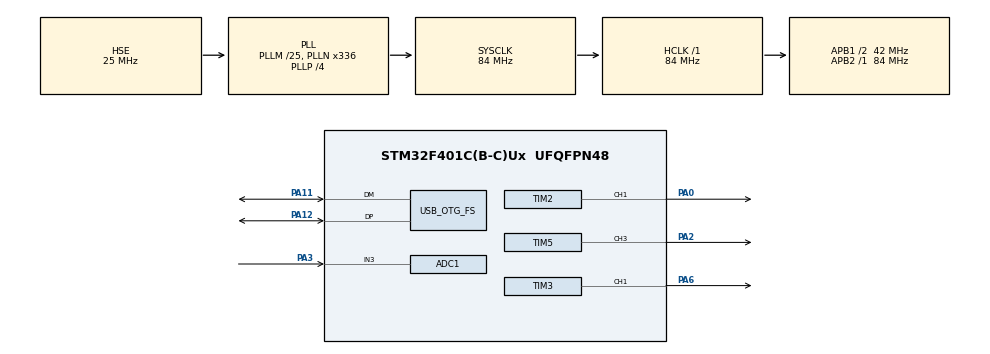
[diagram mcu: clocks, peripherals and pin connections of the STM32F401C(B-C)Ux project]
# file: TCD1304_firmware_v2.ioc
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ADC1.Channel-1\#ChannelRegularConversion=ADC_CHANNEL_3
ADC1.DMAContinuousRequests=ENABLE
ADC1.ExternalTrigConv=ADC_EXTERNALTRIGCONV_T4_CC4
ADC1.NbrOfConversionFlag=1
ADC1.Rank-1\#ChannelRegularConversion=1
ADC1.SamplingTime-1\#ChannelRegularConversion=ADC_SAMPLETIME_3CYCLES
ADC1.master=1
Dma.ADC1.0.Direction=DMA_PERIPH_TO_MEMORY
Dma.ADC1.0.FIFOMode=DMA_FIFOMODE_DISABLE
Dma.ADC1.0.Instance=DMA2_Stream0
Dma.ADC1.0.MemDataAlignment=DMA_MDATAALIGN_HALFWORD
Dma.ADC1.0.MemInc=DMA_MINC_ENABLE
Dma.ADC1.0.Mode=DMA_NORMAL
Dma.ADC1.0.PeriphDataAlignment=DMA_PDATAALIGN_HALFWORD
Dma.ADC1.0.PeriphInc=DMA_PINC_DISABLE
Dma.ADC1.0.Priority=DMA_PRIORITY_LOW
Dma.Request0=ADC1
Mcu.Family=STM32F4
Mcu.Name=STM32F401C(B-C)Ux
Mcu.Package=UFQFPN48
NVIC.DMA2_Stream0_IRQn=true\:0\:0\:false\:false\:true\:false\:true\:true
NVIC.OTG_FS_IRQn=true\:0\:0\:false\:false\:true\:false\:true\:true
NVIC.PriorityGroup=NVIC_PRIORITYGROUP_4
PA0-WKUP.Signal=S_TIM2_CH1_ETR
PA11.Mode=Device_Only
PA11.Signal=USB_OTG_FS_DM
PA12.Mode=Device_Only
PA12.Signal=USB_OTG_FS_DP
PA2.Signal=S_TIM5_CH3
PA3.Signal=ADCx_IN3
PA6.Signal=S_TIM3_CH1
PH0\ -\ OSC_IN.Mode=HSE-External-Oscillator
PH0\ -\ OSC_IN.Signal=RCC_OSC_IN
PH1\ -\ OSC_OUT.Mode=HSE-External-Oscillator
PH1\ -\ OSC_OUT.Signal=RCC_OSC_OUT
ProjectManager.HeapSize=0x200
ProjectManager.StackSize=0x400
ProjectManager.TargetToolchain=STM32CubeIDE
RCC.48MHZClocksFreq_Value=48000000
RCC.AHBFreq_Value=84000000
RCC.APB1CLKDivider=RCC_HCLK_DIV2
RCC.APB1Freq_Value=42000000
RCC.APB1TimFreq_Value=84000000
RCC.APB2Freq_Value=84000000
RCC.APB2TimFreq_Value=84000000
RCC.CortexFreq_Value=84000000
RCC.HCLKFreq_Value=84000000
RCC.HSE_VALUE=25000000
RCC.HSI_VALUE=16000000
RCC.LSE_VALUE=32768
RCC.PLLM=25
RCC.PLLN=336
RCC.PLLP=RCC_PLLP_DIV4
RCC.PLLQ=7
RCC.SYSCLKFreq_VALUE=84000000
RCC.SYSCLKSource=RCC_SYSCLKSOURCE_PLLCLK
RCC.VCOOutputFreq_Value=336000000
SH.ADCx_IN3.0=ADC1_IN3,IN3
SH.S_TIM2_CH1_ETR.0=TIM2_CH1,PWM Generation1 CH1
SH.S_TIM3_CH1.0=TIM3_CH1,PWM Generation1 CH1
SH.S_TIM5_CH3.0=TIM5_CH3,PWM Generation3 CH3
TIM2.Channel-PWM\ Generation1\ CH1=TIM_CHANNEL_1
TIM2.Period=630000-1
TIM2.Pulse-PWM\ Generation1\ CH1=840-1
TIM2.TIM_MasterOutputTrigger=TIM_TRGO_ENABLE
TIM2.TIM_MasterSlaveMode=TIM_MASTERSLAVEMODE_ENABLE
TIM3.Channel-PWM\ Generation1\ CH1=TIM_CHANNEL_1
TIM3.Period=42-1
TIM3.Pulse-PWM\ Generation1\ CH1=21-1
TIM4.Channel-PWM\ Generation4\ No\ Output=TIM_CHANNEL_4
TIM4.Period=168-1
TIM4.Pulse-PWM\ Generation4\ No\ Output=42-1
TIM5.Channel-PWM\ Generation3\ CH3=TIM_CHANNEL_3
TIM5.Period=1680-1
TIM5.Pulse-PWM\ Generation3\ CH3=336-1
TIM5.TIM_MasterSlaveMode=TIM_MASTERSLAVEMODE_ENABLE
USB_DEVICE.APP_TX_DATA_SIZE=1024
USB_DEVICE.CLASS_NAME_FS=CDC
USB_DEVICE.VirtualMode=Cdc
USB_DEVICE.VirtualModeFS=Cdc_FS
USB_OTG_FS.VirtualMode=Device_Only
VP_TIM2_VS_ClockSourceINT.Mode=Internal
VP_TIM3_VS_ClockSourceINT.Mode=Internal
VP_TIM4_VS_ClockSourceINT.Mode=Internal
VP_TIM4_VS_no_output4.Mode=PWM Generation4 No Output
VP_TIM5_VS_ClockSourceINT.Mode=Internal
VP_TIM5_VS_ClockSourceITR.Mode=TriggerSource_ITR0
VP_TIM5_VS_ControllerModeTrigger.Mode=Trigger Mode
VP_USB_DEVICE_VS_USB_DEVICE_CDC_FS.Mode=CDC_FS
board=custom

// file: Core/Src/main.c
/* USER CODE BEGIN Header */
/**
  ******************************************************************************
  * @file           : main.c
  * @brief          : Main program body
  ******************************************************************************
  * @attention
  *
  * Copyright (c) 2025 STMicroelectronics.
  * All rights reserved.
  *
  * This software is licensed under terms that can be found in the LICENSE file
  * in the root directory of this software component.
  * If no LICENSE file comes with this software, it is provided AS-IS.
  *
  ******************************************************************************
  */
/* USER CODE END Header */
#include "main.h"
#include "usb_device.h"

/* USER CODE BEGIN Includes */
#include <stdio.h>
#include <string.h>
#include "usbd_cdc_if.h"
#include "usb_transport.h"  // ← ADDED for USB transport code
#include "ccd_data_layer.h"  // ← ADDED for CCD frame management
#include "command_layer.h"   // ← ADDED FOR COMMAND layer
/* USER CODE END Includes */

ADC_HandleTypeDef hadc1;
DMA_HandleTypeDef hdma_adc1;

TIM_HandleTypeDef htim2;
TIM_HandleTypeDef htim3;
TIM_HandleTypeDef htim4;
TIM_HandleTypeDef htim5;

void SystemClock_Config(void);
static void MX_GPIO_Init(void);
static void MX_DMA_Init(void);
static void MX_TIM2_Init(void);
static void MX_TIM3_Init(void);
static void MX_TIM4_Init(void);
static void MX_TIM5_Init(void);
static void MX_ADC1_Init(void);

/* USER CODE BEGIN 0 */
#define CCDBuffer 6000
volatile uint16_t CCDPixelBuffer[CCDBuffer];

// Frame buffer for processed data
static CCD_Frame_t current_frame;
/* USER CODE END 0 */

int main(void)
{

  /* MCU Configuration--------------------------------------------------------*/

  /* Reset of all peripherals, Initializes the Flash interface and the Systick. */
  HAL_Init();

  /* Configure the system clock */
  SystemClock_Config();

  /* Initialize all configured peripherals */
  MX_GPIO_Init();
  MX_USB_DEVICE_Init();
  MX_TIM3_Init();
  MX_TIM4_Init();
  MX_TIM2_Init();
  MX_DMA_Init();
  MX_ADC1_Init();
  MX_TIM5_Init();

  /* USER CODE BEGIN 2 */
  HAL_TIM_PWM_Start(&htim3, TIM_CHANNEL_1); //PA6 - fM
  HAL_TIM_PWM_Start(&htim4, TIM_CHANNEL_4); //ADC
  HAL_TIM_PWM_Start(&htim2, TIM_CHANNEL_1); //PA0 - ICG
  __HAL_TIM_SET_COUNTER(&htim2, 66); //600 ns delay
  HAL_TIM_PWM_Start(&htim5, TIM_CHANNEL_3); //PA2 - SH

  // Initialize USB transport layer
  usb_transport_init();
  // Initialize CCD data layer
  ccd_data_layer_init();
  // Initialize command layer
  command_layer_init();

  // Start ADC ONCE - it will run continuously
  HAL_ADC_Start_DMA(&hadc1, (uint32_t*) CCDPixelBuffer, CCDBuffer);

  /* USER CODE END 2 */

  /* Infinite loop */
  while (1)
  {
    /* USER CODE BEGIN 3 */

	usb_transport_process();  // ← ADDED for USB IO
	command_layer_process();  // ← ADDED for command layer

  }
  /* USER CODE END 3 */
}

void SystemClock_Config(void)
{
  RCC_OscInitTypeDef RCC_OscInitStruct = {0};
  RCC_ClkInitTypeDef RCC_ClkInitStruct = {0};

  /** Configure the main internal regulator output voltage
  */
  __HAL_RCC_PWR_CLK_ENABLE();
  __HAL_PWR_VOLTAGESCALING_CONFIG(PWR_REGULATOR_VOLTAGE_SCALE2);

  /** Initializes the RCC Oscillators according to the specified parameters
  * in the RCC_OscInitTypeDef structure.
  */
  RCC_OscInitStruct.OscillatorType = RCC_OSCILLATORTYPE_HSE;
  RCC_OscInitStruct.HSEState = RCC_HSE_ON;
  RCC_OscInitStruct.PLL.PLLState = RCC_PLL_ON;
  RCC_OscInitStruct.PLL.PLLSource = RCC_PLLSOURCE_HSE;
  RCC_OscInitStruct.PLL.PLLM = 25;
  RCC_OscInitStruct.PLL.PLLN = 336;
  RCC_OscInitStruct.PLL.PLLP = RCC_PLLP_DIV4;
  RCC_OscInitStruct.PLL.PLLQ = 7;
  if (HAL_RCC_OscConfig(&RCC_OscInitStruct) != HAL_OK)
  {
    Error_Handler();
  }

  /** Initializes the CPU, AHB and APB buses clocks
  */
  RCC_ClkInitStruct.ClockType = RCC_CLOCKTYPE_HCLK|RCC_CLOCKTYPE_SYSCLK
                              |RCC_CLOCKTYPE_PCLK1|RCC_CLOCKTYPE_PCLK2;
  RCC_ClkInitStruct.SYSCLKSource = RCC_SYSCLKSOURCE_PLLCLK;
  RCC_ClkInitStruct.AHBCLKDivider = RCC_SYSCLK_DIV1;
  RCC_ClkInitStruct.APB1CLKDivider = RCC_HCLK_DIV2;
  RCC_ClkInitStruct.APB2CLKDivider = RCC_HCLK_DIV1;

  if (HAL_RCC_ClockConfig(&RCC_ClkInitStruct, FLASH_LATENCY_2) != HAL_OK)
  {
    Error_Handler();
  }
}

static void MX_ADC1_Init(void)
{

  ADC_ChannelConfTypeDef sConfig = {0};

  /** Configure the global features of the ADC (Clock, Resolution, Data Alignment and number of conversion)
  */
  hadc1.Instance = ADC1;
  hadc1.Init.ClockPrescaler = ADC_CLOCK_SYNC_PCLK_DIV4;
  hadc1.Init.Resolution = ADC_RESOLUTION_12B;
  hadc1.Init.ScanConvMode = DISABLE;
  hadc1.Init.ContinuousConvMode = DISABLE;
  hadc1.Init.DiscontinuousConvMode = DISABLE;
  hadc1.Init.ExternalTrigConvEdge = ADC_EXTERNALTRIGCONVEDGE_RISING;
  hadc1.Init.ExternalTrigConv = ADC_EXTERNALTRIGCONV_T4_CC4;
  hadc1.Init.DataAlign = ADC_DATAALIGN_RIGHT;
  hadc1.Init.NbrOfConversion = 1;
  hadc1.Init.DMAContinuousRequests = ENABLE;
  hadc1.Init.EOCSelection = ADC_EOC_SINGLE_CONV;
  if (HAL_ADC_Init(&hadc1) != HAL_OK)
  {
    Error_Handler();
  }

  /** Configure for the selected ADC regular channel its corresponding rank in the sequencer and its sample time.
  */
  sConfig.Channel = ADC_CHANNEL_3;
  sConfig.Rank = 1;
  sConfig.SamplingTime = ADC_SAMPLETIME_3CYCLES;
  if (HAL_ADC_ConfigChannel(&hadc1, &sConfig) != HAL_OK)
  {
    Error_Handler();
  }

}

static void MX_TIM2_Init(void)
{

  TIM_ClockConfigTypeDef sClockSourceConfig = {0};
  TIM_MasterConfigTypeDef sMasterConfig = {0};
  TIM_OC_InitTypeDef sConfigOC = {0};

  htim2.Instance = TIM2;
  htim2.Init.Prescaler = 0;
  htim2.Init.CounterMode = TIM_COUNTERMODE_UP;
  htim2.Init.Period = 630000-1;
  htim2.Init.ClockDivision = TIM_CLOCKDIVISION_DIV1;
  htim2.Init.AutoReloadPreload = TIM_AUTORELOAD_PRELOAD_DISABLE;
  if (HAL_TIM_Base_Init(&htim2) != HAL_OK)
  {
    Error_Handler();
  }
  sClockSourceConfig.ClockSource = TIM_CLOCKSOURCE_INTERNAL;
  if (HAL_TIM_ConfigClockSource(&htim2, &sClockSourceConfig) != HAL_OK)
  {
    Error_Handler();
  }
  if (HAL_TIM_PWM_Init(&htim2) != HAL_OK)
  {
    Error_Handler();
  }
  sMasterConfig.MasterOutputTrigger = TIM_TRGO_ENABLE;
  sMasterConfig.MasterSlaveMode = TIM_MASTERSLAVEMODE_ENABLE;
  if (HAL_TIMEx_MasterConfigSynchronization(&htim2, &sMasterConfig) != HAL_OK)
  {
    Error_Handler();
  }
  sConfigOC.OCMode = TIM_OCMODE_PWM1;
  sConfigOC.Pulse = 840-1;
  sConfigOC.OCPolarity = TIM_OCPOLARITY_HIGH;
  sConfigOC.OCFastMode = TIM_OCFAST_DISABLE;
  if (HAL_TIM_PWM_ConfigChannel(&htim2, &sConfigOC, TIM_CHANNEL_1) != HAL_OK)
  {
    Error_Handler();
  }
  HAL_TIM_MspPostInit(&htim2);

}

static void MX_TIM3_Init(void)
{

  TIM_ClockConfigTypeDef sClockSourceConfig = {0};
  TIM_MasterConfigTypeDef sMasterConfig = {0};
  TIM_OC_InitTypeDef sConfigOC = {0};

  htim3.Instance = TIM3;
  htim3.Init.Prescaler = 0;
  htim3.Init.CounterMode = TIM_COUNTERMODE_UP;
  htim3.Init.Period = 42-1;
  htim3.Init.ClockDivision = TIM_CLOCKDIVISION_DIV1;
  htim3.Init.AutoReloadPreload = TIM_AUTORELOAD_PRELOAD_DISABLE;
  if (HAL_TIM_Base_Init(&htim3) != HAL_OK)
  {
    Error_Handler();
  }
  sClockSourceConfig.ClockSource = TIM_CLOCKSOURCE_INTERNAL;
  if (HAL_TIM_ConfigClockSource(&htim3, &sClockSourceConfig) != HAL_OK)
  {
    Error_Handler();
  }
  if (HAL_TIM_PWM_Init(&htim3) != HAL_OK)
  {
    Error_Handler();
  }
  sMasterConfig.MasterOutputTrigger = TIM_TRGO_RESET;
  sMasterConfig.MasterSlaveMode = TIM_MASTERSLAVEMODE_DISABLE;
  if (HAL_TIMEx_MasterConfigSynchronization(&htim3, &sMasterConfig) != HAL_OK)
  {
    Error_Handler();
  }
  sConfigOC.OCMode = TIM_OCMODE_PWM1;
  sConfigOC.Pulse = 21-1;
  sConfigOC.OCPolarity = TIM_OCPOLARITY_HIGH;
  sConfigOC.OCFastMode = TIM_OCFAST_DISABLE;
  if (HAL_TIM_PWM_ConfigChannel(&htim3, &sConfigOC, TIM_CHANNEL_1) != HAL_OK)
  {
    Error_Handler();
  }
  HAL_TIM_MspPostInit(&htim3);

}

static void MX_TIM4_Init(void)
{

  TIM_ClockConfigTypeDef sClockSourceConfig = {0};
  TIM_MasterConfigTypeDef sMasterConfig = {0};
  TIM_OC_InitTypeDef sConfigOC = {0};

  htim4.Instance = TIM4;
  htim4.Init.Prescaler = 0;
  htim4.Init.CounterMode = TIM_COUNTERMODE_UP;
  htim4.Init.Period = 168-1;
  htim4.Init.ClockDivision = TIM_CLOCKDIVISION_DIV1;
  htim4.Init.AutoReloadPreload = TIM_AUTORELOAD_PRELOAD_DISABLE;
  if (HAL_TIM_Base_Init(&htim4) != HAL_OK)
  {
    Error_Handler();
  }
  sClockSourceConfig.ClockSource = TIM_CLOCKSOURCE_INTERNAL;
  if (HAL_TIM_ConfigClockSource(&htim4, &sClockSourceConfig) != HAL_OK)
  {
    Error_Handler();
  }
  if (HAL_TIM_PWM_Init(&htim4) != HAL_OK)
  {
    Error_Handler();
  }
  sMasterConfig.MasterOutputTrigger = TIM_TRGO_RESET;
  sMasterConfig.MasterSlaveMode = TIM_MASTERSLAVEMODE_DISABLE;
  if (HAL_TIMEx_MasterConfigSynchronization(&htim4, &sMasterConfig) != HAL_OK)
  {
    Error_Handler();
  }
  sConfigOC.OCMode = TIM_OCMODE_PWM1;
  sConfigOC.Pulse = 42-1;
  sConfigOC.OCPolarity = TIM_OCPOLARITY_HIGH;
  sConfigOC.OCFastMode = TIM_OCFAST_DISABLE;
  if (HAL_TIM_PWM_ConfigChannel(&htim4, &sConfigOC, TIM_CHANNEL_4) != HAL_OK)
  {
    Error_Handler();
  }

}

static void MX_TIM5_Init(void)
{

  TIM_ClockConfigTypeDef sClockSourceConfig = {0};
  TIM_SlaveConfigTypeDef sSlaveConfig = {0};
  TIM_MasterConfigTypeDef sMasterConfig = {0};
  TIM_OC_InitTypeDef sConfigOC = {0};

  htim5.Instance = TIM5;
  htim5.Init.Prescaler = 0;
  htim5.Init.CounterMode = TIM_COUNTERMODE_UP;
  htim5.Init.Period = 1680-1;
  htim5.Init.ClockDivision = TIM_CLOCKDIVISION_DIV1;
  htim5.Init.AutoReloadPreload = TIM_AUTORELOAD_PRELOAD_DISABLE;
  if (HAL_TIM_Base_Init(&htim5) != HAL_OK)
  {
    Error_Handler();
  }
  sClockSourceConfig.ClockSource = TIM_CLOCKSOURCE_INTERNAL;
  if (HAL_TIM_ConfigClockSource(&htim5, &sClockSourceConfig) != HAL_OK)
  {
    Error_Handler();
  }
  if (HAL_TIM_PWM_Init(&htim5) != HAL_OK)
  {
    Error_Handler();
  }
  sSlaveConfig.SlaveMode = TIM_SLAVEMODE_TRIGGER;
  sSlaveConfig.InputTrigger = TIM_TS_ITR0;
  if (HAL_TIM_SlaveConfigSynchro(&htim5, &sSlaveConfig) != HAL_OK)
  {
    Error_Handler();
  }
  sMasterConfig.MasterOutputTrigger = TIM_TRGO_RESET;
  sMasterConfig.MasterSlaveMode = TIM_MASTERSLAVEMODE_ENABLE;
  if (HAL_TIMEx_MasterConfigSynchronization(&htim5, &sMasterConfig) != HAL_OK)
  {
    Error_Handler();
  }
  sConfigOC.OCMode = TIM_OCMODE_PWM1;
  sConfigOC.Pulse = 336-1;
  sConfigOC.OCPolarity = TIM_OCPOLARITY_HIGH;
  sConfigOC.OCFastMode = TIM_OCFAST_DISABLE;
  if (HAL_TIM_PWM_ConfigChannel(&htim5, &sConfigOC, TIM_CHANNEL_3) != HAL_OK)
  {
    Error_Handler();
  }
  HAL_TIM_MspPostInit(&htim5);

}

static void MX_DMA_Init(void)
{

  /* DMA controller clock enable */
  __HAL_RCC_DMA2_CLK_ENABLE();

  /* DMA interrupt init */
  /* DMA2_Stream0_IRQn interrupt configuration */
  HAL_NVIC_SetPriority(DMA2_Stream0_IRQn, 0, 0);
  HAL_NVIC_EnableIRQ(DMA2_Stream0_IRQn);

}

static void MX_GPIO_Init(void)
{

  /* GPIO Ports Clock Enable */
  __HAL_RCC_GPIOH_CLK_ENABLE();
  __HAL_RCC_GPIOA_CLK_ENABLE();

}

/* USER CODE BEGIN 4 */

// Debug counter
static uint32_t callback_count = 0;

void HAL_ADC_ConvCpltCallback(ADC_HandleTypeDef* hadc)
{
    // // DEBUG CALLBACK MESSAGE - SEND THIS IMMEDIATELY - before anything else!
    // uint8_t test[] = "CALLBACK!\r\n";
    // CDC_Transmit_FS(test, sizeof(test)-1);

    callback_count++;

    // // DIAGNOSTIC: Send a test marker first to prove this NEW code is running
    // if (callback_count == 1) {
    //     uint8_t test[] = "***NEW_CALLBACK_RUNNING***\r\n";
    //     CDC_Transmit_FS(test, sizeof(test)-1);
    // }

    // Process raw ADC data into a frame with markers and checksum
    CCD_Frame_Status_t status = ccd_data_layer_process_readout(
        CCDPixelBuffer,
        &current_frame
    );

    if (status == CCD_FRAME_OK) {
            // Only send frame if acquisition is enabled
            if (command_layer_is_acquiring()) {
                CDC_Transmit_FS((uint8_t*)&current_frame, FRAME_TOTAL_SIZE);
            }
        } else {
            // DIAGNOSTIC: Send error code if frame processing fails
            // Always send error messages (even when not acquiring - important for debugging)
            uint8_t error_msg[32];
            sprintf((char*)error_msg, "FRAME_ERROR: status=%d\r\n", status);
            CDC_Transmit_FS(error_msg, strlen((char*)error_msg));
        }

    // Restart ADC for next frame
    HAL_ADC_Start_DMA(&hadc1, (uint32_t*)CCDPixelBuffer, CCDBuffer);
}
/* USER CODE END 4 */

void Error_Handler(void)
{
  /* USER CODE BEGIN Error_Handler_Debug */
  /* User can add his own implementation to report the HAL error return state */
  __disable_irq();
  while (1)
  {
  /* USER CODE END WHILE */
  /* USER CODE BEGIN 3 */

  }
  /* USER CODE END Error_Handler_Debug */
}
